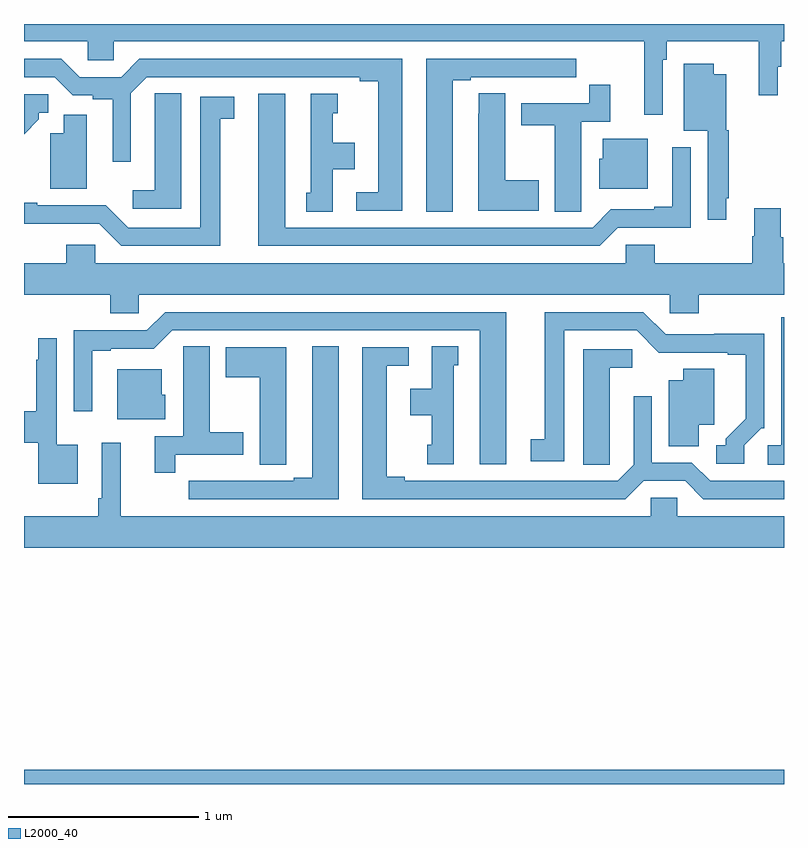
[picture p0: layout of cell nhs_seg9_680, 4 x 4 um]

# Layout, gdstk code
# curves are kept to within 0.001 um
import gdstk
lib = gdstk.Library(unit=1e-6, precision=1e-09)
def R(c, l, rs):  # rectangles x0, y0, x1, y1
    for r in rs: c.add(gdstk.rectangle(r[:2], r[2:], *l))
def P(c, l, *ps):  # polygons
    for p in ps: c.add(gdstk.Polygon(p, *l))
L2000_40 = (2000, 40)

nhs_seg9_680 = lib.new_cell('nhs_seg9_680')
R(nhs_seg9_680, L2000_40, [(145,1204.5,149,1204.576)])
P(nhs_seg9_680, L2000_40, [(148.362,1208.312),(148.382,1208.312),(148.382,1208.408),(148.867,1208.408),(148.867,1208.124),(148.966,1208.124),(148.966,1208.274),(148.985,1208.274),(148.985,1208.408),(149,1208.408),(149,1208.5),(145,1208.5),(145,1208.408),(145.335,1208.408),(145.335,1208.31),(145.473,1208.31),(145.473,1208.408),(148.265,1208.408),(148.265,1208.022),(148.362,1208.022)],
  [(147.256,1208.205),(147.352,1208.205),(147.352,1208.22),(147.628,1208.22),(147.628,1208.219),(147.794,1208.219),(147.794,1208.22),(147.907,1208.22),(147.907,1208.316),(147.116,1208.316),(147.116,1207.513),(147.256,1207.513)],
  [(146.992,1208.316),(145.607,1208.316),(145.511,1208.22),(145.293,1208.22),(145.197,1208.316),(145,1208.316),(145,1208.22),(145.161,1208.22),(145.257,1208.124),(145.362,1208.124),(145.362,1208.104),(145.466,1208.104),(145.466,1207.776),(145.563,1207.776),(145.563,1208.136),(145.647,1208.22),(146.768,1208.22),(146.768,1208.2),(146.864,1208.2),(146.864,1207.614),(146.748,1207.614),(146.748,1207.518),(146.992,1207.518)],
  [(148.696,1207.582),(148.708,1207.582),(148.708,1207.941),(148.696,1207.941),(148.696,1208.236),(148.63,1208.236),(148.63,1208.29),(148.472,1208.29),(148.472,1207.937),(148.599,1207.937),(148.599,1207.47),(148.696,1207.47)],
  [(147.933,1207.624),(147.934,1207.624),(147.934,1207.986),(148.085,1207.986),(148.085,1208.179),(147.976,1208.179),(147.976,1208.082),(147.617,1208.082),(147.617,1207.966),(147.794,1207.966),(147.794,1207.513),(147.933,1207.513)],
  [(147.709,1207.677),(147.532,1207.677),(147.532,1208.135),(147.393,1208.135),(147.393,1208.027),(147.392,1208.027),(147.392,1207.517),(147.709,1207.517)],
  [(145.828,1208.135),(145.689,1208.135),(145.689,1208.027),(145.688,1208.027),(145.688,1207.624),(145.572,1207.624),(145.572,1207.527),(145.828,1207.527)],
  [(148.125,1207.428),(148.509,1207.428),(148.509,1207.852),(148.412,1207.852),(148.412,1207.537),(148.316,1207.537),(148.316,1207.524),(148.089,1207.524),(147.993,1207.428),(146.374,1207.428),(146.374,1208.134),(146.234,1208.134),(146.234,1207.332),(148.029,1207.332)],
  [(146.626,1207.736),(146.74,1207.736),(146.74,1207.876),(146.626,1207.876),(146.626,1208.031),(146.65,1208.031),(146.65,1208.134),(146.51,1208.134),(146.51,1207.611),(146.486,1207.611),(146.486,1207.513),(146.626,1207.513)],
  [(145.078,1207.999),(145.078,1208.034),(145.128,1208.034),(145.128,1208.13),(145,1208.13),(145,1207.921)],
  [(146.032,1208.002),(146.107,1208.002),(146.107,1208.118),(145.928,1208.118),(145.928,1207.428),(145.548,1207.428),(145.431,1207.545),(145.069,1207.545),(145.069,1207.558),(145,1207.558),(145,1207.448),(145.395,1207.449),(145.512,1207.332),(146.032,1207.332)],
  [(145.33,1208.022),(145.208,1208.022),(145.208,1207.924),(145.139,1207.924),(145.139,1207.634),(145.33,1207.634)],
  [(148.282,1207.897),(148.046,1207.897),(148.046,1207.791),(148.028,1207.791),(148.028,1207.634),(148.282,1207.634)],
  [(148.984,1207.377),(148.984,1207.531),(148.844,1207.531),(148.844,1207.382),(148.832,1207.382),(148.832,1207.24),(148.319,1207.24),(148.319,1207.338),(148.167,1207.338),(148.167,1207.24),(145.374,1207.24),(145.374,1207.338),(145.223,1207.338),(145.223,1207.24),(145,1207.24),(145,1207.076),(145.454,1207.076),(145.454,1206.978),(145.605,1206.978),(145.605,1207.076),(148.398,1207.076),(148.398,1206.978),(148.55,1206.978),(148.55,1207.076),(149,1207.076),(149,1207.24),(148.997,1207.24),(148.997,1207.377)],
  [(148.791,1206.282),(148.881,1206.372),(148.896,1206.372),(148.896,1206.869),(148.633,1206.869),(148.633,1206.867),(148.377,1206.867),(148.26,1206.984),(147.74,1206.984),(147.74,1206.314),(147.666,1206.314),(147.666,1206.198),(147.844,1206.198),(147.844,1206.888),(148.224,1206.888),(148.342,1206.77),(148.703,1206.771),(148.703,1206.759),(148.799,1206.759),(148.799,1206.422),(148.694,1206.317),(148.694,1206.282),(148.644,1206.282),(148.644,1206.186),(148.791,1206.186)],
  [(147.538,1206.984),(145.743,1206.984),(145.647,1206.888),(145.263,1206.888),(145.263,1206.462),(145.36,1206.462),(145.36,1206.78),(145.456,1206.78),(145.456,1206.792),(145.683,1206.792),(145.779,1206.888),(147.398,1206.888),(147.398,1206.183),(147.538,1206.183)],
  [(149,1206.957),(148.986,1206.957),(148.986,1206.282),(148.914,1206.282),(148.914,1206.181),(149,1206.181)],
  [(145.282,1206.286),(145.173,1206.286),(145.173,1206.847),(145.076,1206.847),(145.076,1206.734),(145.065,1206.734),(145.065,1206.462),(145,1206.462),(145,1206.296),(145.076,1206.296),(145.076,1206.08),(145.282,1206.08)],
  [(147.262,1206.705),(147.286,1206.705),(147.286,1206.803),(147.146,1206.803),(147.146,1206.58),(147.032,1206.58),(147.032,1206.44),(147.146,1206.44),(147.146,1206.285),(147.122,1206.285),(147.122,1206.183),(147.262,1206.183)],
  [(145.796,1206.234),(146.155,1206.234),(146.155,1206.351),(145.978,1206.351),(145.978,1206.803),(145.839,1206.803),(145.839,1206.692),(145.838,1206.692),(145.838,1206.33),(145.688,1206.33),(145.688,1206.138),(145.796,1206.138)],
  [(146.656,1206.803),(146.516,1206.803),(146.516,1206.111),(146.42,1206.111),(146.42,1206.096),(146.144,1206.096),(146.144,1206.097),(145.978,1206.097),(145.978,1206.096),(145.866,1206.096),(145.866,1206),(146.656,1206)],
  [(146.379,1206.289),(146.38,1206.289),(146.38,1206.799),(146.063,1206.799),(146.063,1206.64),(146.24,1206.64),(146.24,1206.181),(146.379,1206.181)],
  [(148.261,1206.096),(148.479,1206.096),(148.575,1206),(149,1206),(149,1206.096),(148.611,1206.096),(148.515,1206.192),(148.305,1206.192),(148.305,1206.541),(148.209,1206.541),(148.209,1206.18),(148.125,1206.096),(147.004,1206.096),(147.004,1206.116),(146.908,1206.116),(146.908,1206.702),(147.025,1206.702),(147.025,1206.798),(146.78,1206.798),(146.78,1206),(148.165,1206)],
  [(148.083,1206.289),(148.084,1206.289),(148.084,1206.692),(148.201,1206.692),(148.201,1206.789),(147.944,1206.789),(147.944,1206.181),(148.083,1206.181)],
  [(148.552,1206.392),(148.633,1206.392),(148.633,1206.686),(148.469,1206.686),(148.469,1206.625),(148.394,1206.625),(148.394,1206.277),(148.552,1206.277)],
  [(145.744,1206.549),(145.726,1206.549),(145.726,1206.682),(145.49,1206.682),(145.49,1206.419),(145.744,1206.419)],
  [(149,1205.908),(148.437,1205.908),(148.437,1206.006),(148.299,1206.006),(148.299,1205.908),(145.508,1205.908),(145.508,1206.295),(145.41,1206.295),(145.41,1206.004),(145.39,1206.004),(145.39,1205.908),(145,1205.908),(145,1205.744),(149,1205.744)])

lib.write_gds('nhs_seg9_680.gds')
